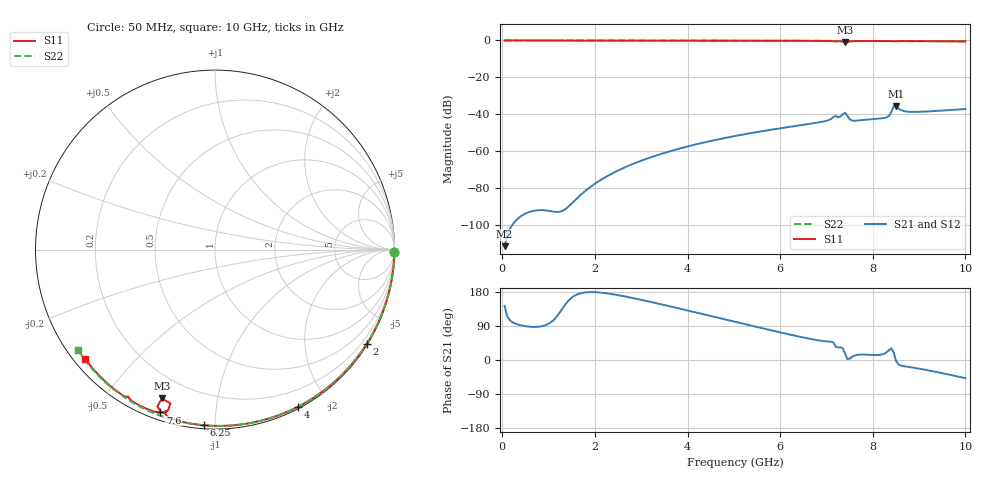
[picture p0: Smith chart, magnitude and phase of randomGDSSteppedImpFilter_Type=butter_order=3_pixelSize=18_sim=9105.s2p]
! freq	dB(S11)	phase(S11)	dB(S12)	phase(S12)
!  dB(S21)	phase(S21)	dB(S22)	phase(S22)
!S-par simulation data
#  GHz  S  DB  R 50
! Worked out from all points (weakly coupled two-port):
!   200 points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, 50 MHz to 10 GHz, reference 50 ohm
!   highest |S21| = -35.54 dB at 8.5 GHz (marker M1); lowest = -111.5 dB at 50 MHz (marker M2)
!   lowest |S11| = -1.1 dB at 7.4 GHz (marker M3), VSWR 15.78, Z = 4.73 - j35 ohm
!   |S11| at or under -10 dB: nowhere
!   |S22| runs from -0.5 to 0.0 dB; largest |S21 - S12| = 0
!   S11 on the Smith chart (normalised r, x): 50 MHz: open; 2 GHz: 0.03, -3.49; 4 GHz: 0.02, -1.66; 6.25 GHz: 0.02, -0.94; 7.6 GHz: 0.03, -0.72; 10 GHz: 0.03, -0.36
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0.05  -0.00 -0.8  -111.51 142.8  -111.51 142.8  -0.00 -0.8
1.75  -0.04 -28.0  -82.46 177.6  -82.46 177.6  -0.04 -28.8
1.85  -0.04 -29.6  -80.41 179.0  -80.41 179.0  -0.04 -30.4
2  -0.04 -32.0  -77.66 179.0  -77.66 179.0  -0.04 -32.8
2.6  -0.05 -41.2  -69.31 168.8  -69.31 168.8  -0.05 -42.3
3.4  -0.07 -53.3  -61.74 147.9  -61.74 147.9  -0.07 -54.7
4  -0.09 -62.1  -57.47 130.7  -57.47 130.7  -0.09 -63.7
5.05  -0.12 -77.1  -51.68 100.1  -51.68 100.1  -0.12 -78.9
6.25  -0.17 -93.5  -46.67 66.0  -46.67 66.0  -0.17 -95.5
6.7  -0.20 -99.7  -44.97 54.5  -44.97 54.5  -0.20 -101.5
7.05  -0.26 -105.2  -43.14 48.6  -43.14 48.6  -0.22 -106.2
7.2  -0.56 -106.5  -40.93 35.1  -40.93 35.1  -0.23 -108.1
7.3  -0.43 -108.7  -41.22 33.9  -41.22 33.9  -0.23 -109.4
7.4  -1.10 -109.7  -39.18 17.6  -39.18 17.6  -0.24 -110.7
7.5  -0.61 -106.3  -42.67 3.3  -42.67 3.3  -0.25 -112.0
7.6  -0.38 -108.6  -43.50 11.3  -43.50 11.3  -0.26 -113.3
8.35  -0.36 -119.7  -40.87 26.3  -40.87 26.3  -0.34 -123.0
8.45  -0.44 -120.6  -35.75 20.1  -35.75 20.1  -0.38 -124.1
8.5  -0.40 -120.8  -35.54 -1.5  -35.54 -1.5  -0.35 -124.5
8.6  -0.35 -122.3  -37.64 -14.5  -37.64 -14.5  -0.34 -125.9
8.8  -0.36 -124.9  -38.70 -18.6  -38.70 -18.6  -0.35 -128.5
10  -0.48 -139.9  -37.15 -48.0  -37.15 -48.0  -0.48 -143.7
